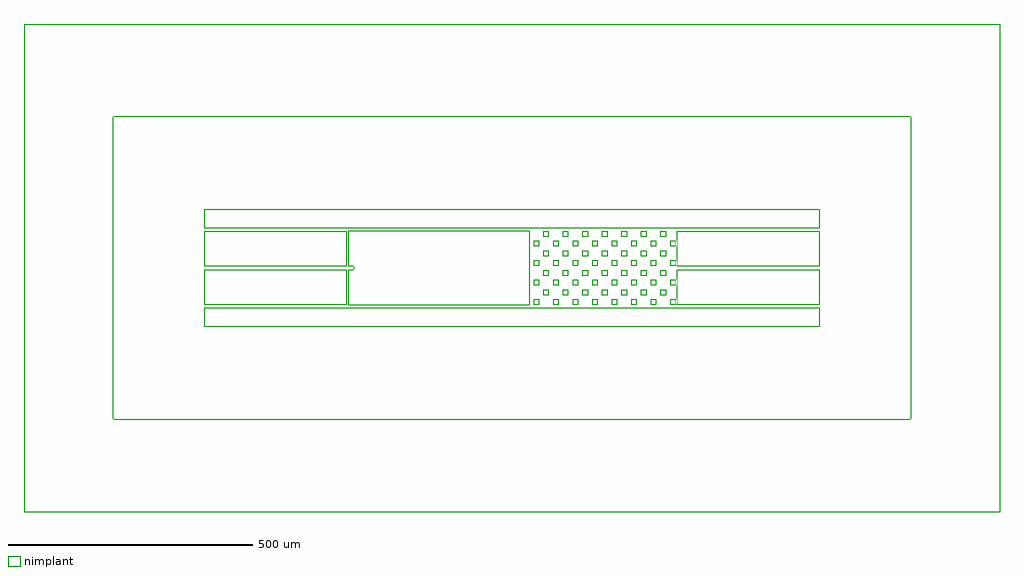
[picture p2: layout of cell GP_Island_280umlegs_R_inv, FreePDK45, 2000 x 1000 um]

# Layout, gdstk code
import gdstk
lib = gdstk.Library(unit=1e-6, precision=1e-09)
def R(c, l, rs):  # rectangles x0, y0, x1, y1
    for r in rs: c.add(gdstk.rectangle(r[:2], r[2:], *l))
def A(c, l, x, y, w, h, nx, ny, dx, dy):  # array of equal rectangles
    R(c, l, [(x+i*dx, y+j*dy, x+i*dx+w, y+j*dy+h) for i in range(nx) for j in range(ny)])
def P(c, l, *ps):  # polygons
    for p in ps: c.add(gdstk.Polygon(p, *l))
nimplant = (4, 0)

gp_island_280umlegs_r_in = lib.new_cell('GP_Island_280umlegs_R_inv')
A(gp_island_280umlegs_r_in, nimplant, 44.25, -75.75, 11.5, 11.5, 8, 4, 40, 40)
A(gp_island_280umlegs_r_in, nimplant, 64.25, -55.75, 11.5, 11.5, 7, 4, 40, 40)
R(gp_island_280umlegs_r_in, nimplant, [(-631,-120,631,-81), (-631,-75,-338.5,-4), (338,-75,631,-4), (-631,4,-338.5,75), (338,4,631,75), (-631,81,631,120)])
P(gp_island_280umlegs_r_in, nimplant, [(1000,500),(-1000,500),(-1000,-310),(-817,-310),(-817,310),(817,310),(817,-310),(-817,-310),(-1000,-310),(-1000,-500),(1000,-500)],
  [(36,76),(-335.5,76),(-335.5,4),(-324.5,4),(-324.5,-4),(-335.5,-4),(-335.5,-76),(36,-76)])

lib.write_gds('GP_Island_280umlegs_R_inv.gds')
